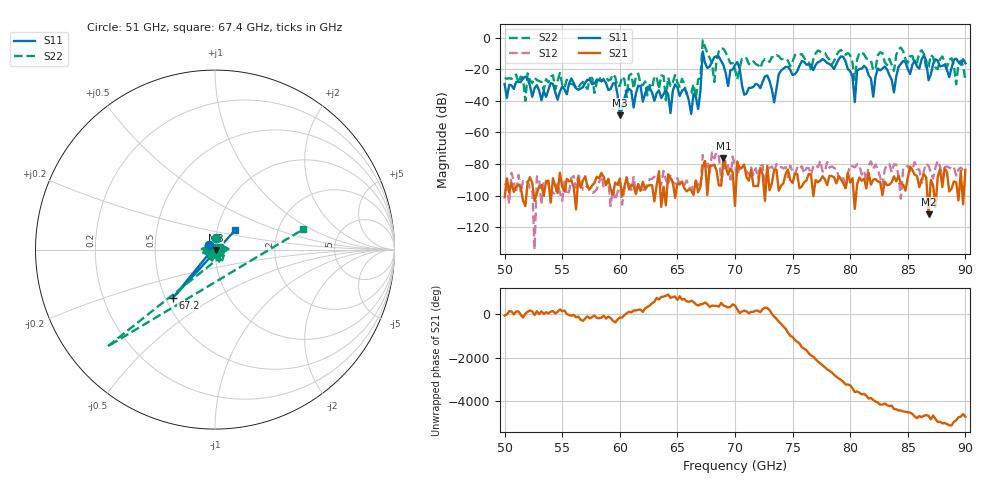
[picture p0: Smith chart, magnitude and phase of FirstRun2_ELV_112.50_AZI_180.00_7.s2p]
! 11/24/2026 3:21:10 PM
! C:\ANRITSUVNA\TEMP\TEMP.S2P
! CHANNEL.1
! TR.MEASUREMENT
! RAW.DATA
# HZ S RI R 50.0
! FREQ.HZ  S11RE  S11IM  S21RE  S21IM  S12RE  S12IM  S22RE  S22IM
!; PortSelection: Port_12
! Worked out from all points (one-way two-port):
!   201 points, 50 GHz to 90 GHz, reference 50 ohm
!   highest |S21| = -76.32 dB at 69 GHz (marker M1); lowest = -111.7 dB at 86.8 GHz (marker M2)
!   lowest |S11| = -49.0 dB at 60 GHz (marker M3), VSWR 1.01, Z = 50.3 - j0.14 ohm
!   |S11| at or under -10 dB: start of sweep to 67.19 GHz; 67.23 GHz to end of sweep
!   |S22| runs from -40.0 to -1.9 dB; largest |S21 - S12| = 0.00027
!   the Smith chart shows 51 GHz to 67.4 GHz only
!   S11 on the Smith chart (normalised r, x): 51 GHz: 0.94, +0.05; 67.2 GHz: 0.54, -0.34; 67.4 GHz: 1.22, +0.27
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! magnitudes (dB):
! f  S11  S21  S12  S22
! 50 GHz  -29.4  -100.9  -92.1  -25.6
! 51 GHz  -28.1  -94.4  -98.2  -23.4
! 51.8 GHz  -24.8  -106.5  -92.2  -40.0
! 56.8 GHz  -31.4  -90.4  -96.2  -28.0
! 59.6 GHz  -28.7  -91.6  -102.7  -25.0
! 60 GHz  -49.0  -89.1  -90.9  -30.5
! 63.4 GHz  -33.3  -84.5  -91.3  -32.6
! 66.8 GHz  -45.2  -97.8  -92.9  -26.4
! 67.2 GHz  -8.9  -81.5  -74.2  -1.9
! 67.4 GHz  -16.1  -78.0  -82.2  -6.0
! 68.2 GHz  -12.5  -80.3  -76.4  -28.0
! 69 GHz  -17.6  -76.3  -84.3  -7.2
! 70 GHz  -17.4  -106.4  -81.4  -19.9
! 73.4 GHz  -41.0  -83.7  -84.9  -12.7
! 74.2 GHz  -19.6  -92.1  -82.7  -13.6
! 76.8 GHz  -20.7  -100.3  -81.2  -13.6
! 79.4 GHz  -12.2  -92.4  -88.1  -9.4
! 80.4 GHz  -40.8  -108.3  -82.0  -26.7
! 80.6 GHz  -21.0  -92.8  -80.0  -13.8
! 83.4 GHz  -23.7  -93.0  -79.9  -13.5
! 86.8 GHz  -27.0  -111.7  -81.1  -18.6
! 90 GHz  -16.3  -83.6  -84.4  -27.0
